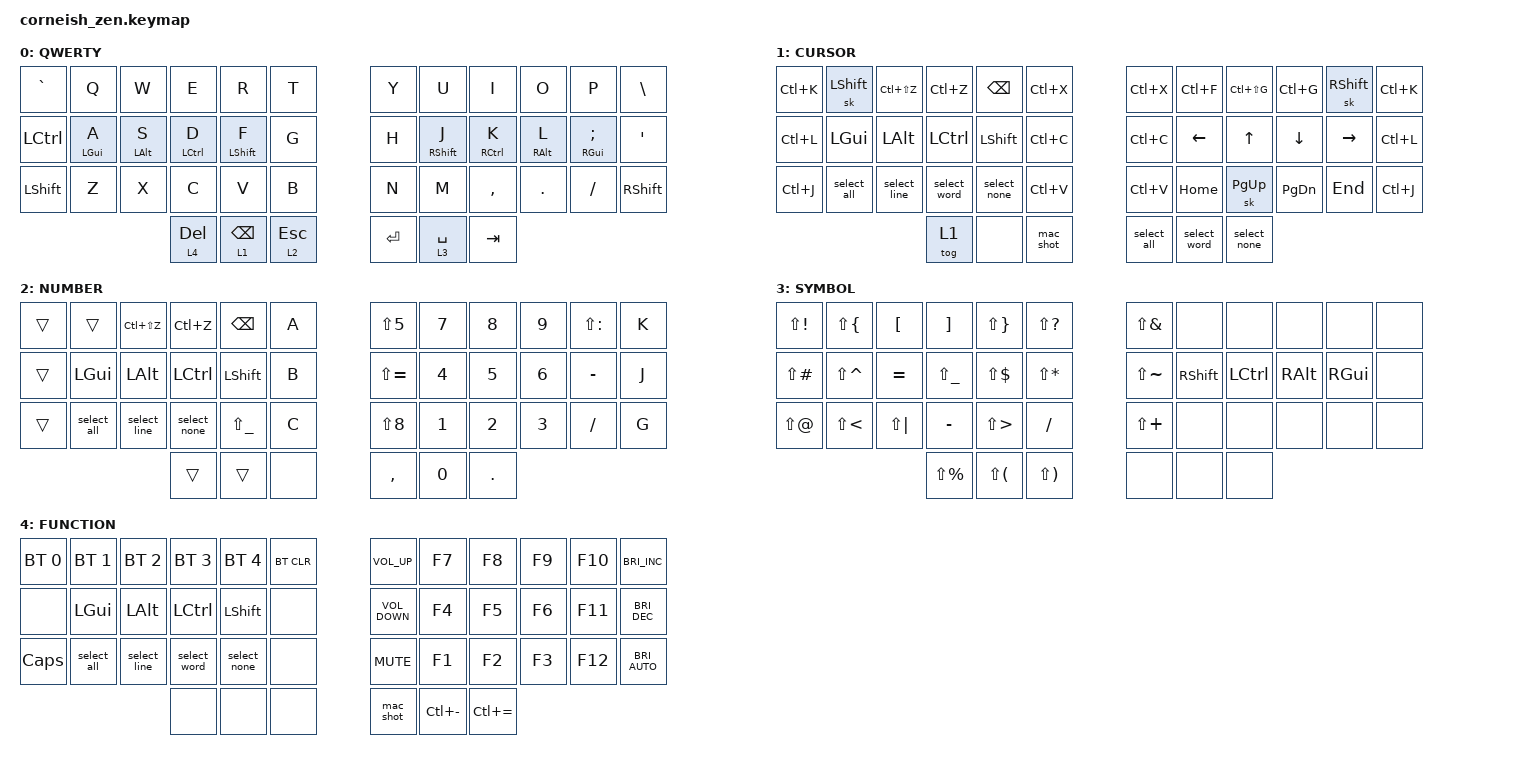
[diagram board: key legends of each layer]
#include <behaviors.dtsi>
#include <dt-bindings/zmk/bt.h>
#include <dt-bindings/zmk/keys.h>

/ {
    chosen {
        zmk,matrix_transform = &default_transform;

        //zmk,matrix_transform = &five_column_transform;
    };
};

/ {
    behaviors {
        homerow: homerow {
            compatible = "zmk,behavior-hold-tap";
            label = "HOMEROW";
            bindings = <&kp>, <&kp>;

            #binding-cells = <2>;
            tapping-term-ms = <240>;
            flavor = "tap-preferred";
            quick-tap-ms = <200>;
            require-prior-idle-ms = <160>;
            hold-trigger-key-positions = <36 38 37 39 40 41>;
            hold-trigger-on-release;
        };

        index: index {
            compatible = "zmk,behavior-hold-tap";
            label = "INDEX";
            bindings = <&kp>, <&kp>;

            #binding-cells = <2>;
            flavor = "tap-preferred";
            hold-trigger-on-release;
            hold-trigger-key-positions = <36 37 38 39 40 41>;
            tapping-term-ms = <180>;
            require-prior-idle-ms = <100>;
            quick-tap-ms = <300>;
        };

        thumb: thumb {
            compatible = "zmk,behavior-hold-tap";
            label = "THUMB";
            bindings = <&mo>, <&kp>;

            #binding-cells = <2>;
            flavor = "balanced";
            quick-tap-ms = <300>;
            tapping-term-ms = <200>;
        };
    };


    macros {
        select_line: select_line {
            compatible = "zmk,behavior-macro";
            #binding-cells = <0>;
            bindings = <&kp HOME &kp LS(END)>;
            label = "SELECT_LINE";
            wait-ms = <1>;
            tap-ms = <1>;
        };

        select_word: select_word {
            compatible = "zmk,behavior-macro";
            #binding-cells = <0>;
            bindings = <&kp LC(RIGHT) &kp LC(LEFT) &kp LC(LS(RIGHT))>;
            label = "SELECT_WORD";
            wait-ms = <1>;
            tap-ms = <1>;
        };

        select_none: select_none {
            compatible = "zmk,behavior-macro";
            #binding-cells = <0>;
            bindings = <&kp DOWN &kp UP &kp RIGHT &kp LEFT>;
            label = "SELECT_NONE";
        };

        select_all: select_all {
            compatible = "zmk,behavior-macro";
            #binding-cells = <0>;
            bindings = <&kp LC(A)>;
            label = "SELECT_ALL";
            wait-ms = <1>;
            tap-ms = <1>;
        };

        mac_shot: mac_shot {
            compatible = "zmk,behavior-macro";
            #binding-cells = <0>;
            bindings = <&kp LC(LS(LG(N4)))>;
            label = "MAC_SHOT";
        };
    };

    keymap {
        compatible = "zmk,keymap";

        default {
// ┏━━━━━━━━━━━━━━━━━━━━━━━━━━━━━━━━━━━━━━━┓
label= "QWERTY"                           ;
// ┗━━━━━━━━━━━━━━━━━━━━━━━━━━━━━━━━━━━━━━━┛
//             ┏━━━━━━━━━━━┳━━━━━━━━━━━┳━━━━━━━━━━━┳━━━━━━━━━━━┳━━━━━━━━━━━┳━━━━━━━━━━━┓   ┏━━━━━━━━━━━┳━━━━━━━━━━━┳━━━━━━━━━━━┳━━━━━━━━━━━┳━━━━━━━━━━━┳━━━━━━━━━━━┓
//             ┃     `     ┃     Q     ┃     W     ┃     E     ┃     R     ┃     T     ┃   ┃     Y     ┃     U     ┃     I     ┃     O     ┃     P     ┃     \     ┃
//             ┣━━━━━━━━━━━╋━━━━━━━━━━━╋━━━━━━━━━━━╋━━━━━━━━━━━╋━━━━━━━━━━━╋━━━━━━━━━━━┫   ┣━━━━━━━━━━━╋━━━━━━━━━━━╋━━━━━━━━━━━╋━━━━━━━━━━━╋━━━━━━━━━━━╋━━━━━━━━━━━┫
//             ┃   CTRL    ┃  A / GUI  ┃  S / ALT  ┃  D / CTRL ┃  F / SHFT ┃     G     ┃   ┃     H     ┃  J / SHFT ┃  K / CTRL ┃  L / ALT  ┃  ; / GUI  ┃     '     ┃
//             ┣━━━━━━━━━━━╋━━━━━━━━━━━╋━━━━━━━━━━━╋━━━━━━━━━━━╋━━━━━━━━━━━╋━━━━━━━━━━━┫   ┣━━━━━━━━━━━╋━━━━━━━━━━━╋━━━━━━━━━━━╋━━━━━━━━━━━╋━━━━━━━━━━━╋━━━━━━━━━━━┫
//             ┃   SHIFT   ┃     Z     ┃     X     ┃     C     ┃     V     ┃     B     ┃   ┃     N     ┃     M     ┃     ,     ┃     .     ┃     /     ┃   SHIFT   ┃
//             ┗━━━━━━━━━━━┻━━━━━━━━━━━┻━━━━━━━━━━━╋━━━━━━━━━━━╋━━━━━━━━━━━╋━━━━━━━━━━━┫   ┣━━━━━━━━━━━╋━━━━━━━━━━━╋━━━━━━━━━━━╋━━━━━━━━━━━┻━━━━━━━━━━━┻━━━━━━━━━━━┛
//                                                 ┃ DEL / L4  ┃ BSPC / L1 ┃ ESC / L2  ┃   ┃   ENTER   ┃ SPC / L3  ┃    TAB    ┃
//                                                 ┗━━━━━━━━━━━┻━━━━━━━━━━━┻━━━━━━━━━━━┛   ┗━━━━━━━━━━━┻━━━━━━━━━━━┻━━━━━━━━━━━┛

            bindings = <
&kp GRAVE  &kp Q            &kp W            &kp E                    &kp R               &kp T           &kp Y      &kp U            &kp I             &kp O            &kp P               &kp BACKSLASH
&kp LCTRL  &homerow LGUI A  &homerow LALT S  &homerow LEFT_CONTROL D  &index LSHFT F      &kp G           &kp H      &index RSHIFT J  &homerow RCTRL K  &homerow RALT L  &homerow RGUI SEMI  &kp SQT
&kp LSHFT  &kp Z            &kp X            &kp C                    &kp V               &kp B           &kp N      &kp M            &kp COMMA         &kp DOT          &kp SLASH           &kp RSHFT
                                             &thumb 4 DEL             &thumb 1 BACKSPACE  &thumb 2 ESC    &kp ENTER  &thumb 3 SPACE   &kp TAB
            >;
        };

        cursor {
// ┏━━━━━━━━━━━━━━━━━━━━━━━━━━━━━━━━━━━━━━━┓
label= "CURSOR"                           ;
// ┗━━━━━━━━━━━━━━━━━━━━━━━━━━━━━━━━━━━━━━━┛
//             ┏━━━━━━━━━━━┳━━━━━━━━━━━┳━━━━━━━━━━━┳━━━━━━━━━━━┳━━━━━━━━━━━┳━━━━━━━━━━━┓   ┏━━━━━━━━━━━┳━━━━━━━━━━━┳━━━━━━━━━━━┳━━━━━━━━━━━┳━━━━━━━━━━━┳━━━━━━━━━━━┓
//             ┃   CLEAR   ┃  SK SHIFT ┃    REDO   ┃    UNDO   ┃   BSPC    ┃    CUT    ┃   ┃    CUT    ┃   FIND    ┃  FIND PRV ┃  FIND NXT ┃  SK SHIFT ┃   CLEAR   ┃
//             ┣━━━━━━━━━━━╋━━━━━━━━━━━╋━━━━━━━━━━━╋━━━━━━━━━━━╋━━━━━━━━━━━╋━━━━━━━━━━━┫   ┣━━━━━━━━━━━╋━━━━━━━━━━━╋━━━━━━━━━━━╋━━━━━━━━━━━╋━━━━━━━━━━━╋━━━━━━━━━━━┫
//             ┃    LOCK   ┃    GUI    ┃    ALT    ┃   CTRL    ┃   SHIFT   ┃   COPY    ┃   ┃   COPY    ┃   LEFT    ┃    UP     ┃   DOWN    ┃   RIGHT   ┃    LOCK   ┃
//             ┣━━━━━━━━━━━╋━━━━━━━━━━━╋━━━━━━━━━━━╋━━━━━━━━━━━╋━━━━━━━━━━━╋━━━━━━━━━━━┫   ┣━━━━━━━━━━━╋━━━━━━━━━━━╋━━━━━━━━━━━╋━━━━━━━━━━━╋━━━━━━━━━━━╋━━━━━━━━━━━┫
//             ┃   JUMP    ┃  SEL ALL  ┃  SEL LINE ┃  SEL WORD ┃  SEL NONE ┃   PASTE   ┃   ┃   PASTE   ┃   HOME    ┃  SK PGUP  ┃   PGDN    ┃    END    ┃   JUMP    ┃
//             ┗━━━━━━━━━━━┻━━━━━━━━━━━┻━━━━━━━━━━━╋━━━━━━━━━━━╋━━━━━━━━━━━╋━━━━━━━━━━━┫   ┣━━━━━━━━━━━╋━━━━━━━━━━━╋━━━━━━━━━━━╋━━━━━━━━━━━┻━━━━━━━━━━━┻━━━━━━━━━━━┛
//                                                 ┃  TOG L1   ┃           ┃  SCREEN   ┃   ┃  SEL ALL  ┃  SEL WORD ┃  SEL NONE ┃
//                                                 ┗━━━━━━━━━━━┻━━━━━━━━━━━┻━━━━━━━━━━━┛   ┗━━━━━━━━━━━┻━━━━━━━━━━━┻━━━━━━━━━━━┛

            bindings = <
&kp LC(K)  &sk LSHIFT   &kp LC(LS(Z))  &kp LC(Z)     &kp BACKSPACE  &kp LC(X)    &kp LC(X)    &kp LC(F)     &kp LC(LS(G))  &kp LC(G)  &sk RSHFT  &kp LC(K)
&kp LC(L)  &kp LGUI     &kp LALT       &kp LCTRL     &kp LSHFT      &kp LC(C)    &kp LC(C)    &kp LEFT      &kp UP         &kp DOWN   &kp RIGHT  &kp LC(L)
&kp LC(J)  &select_all  &select_line   &select_word  &select_none   &kp LC(V)    &kp LC(V)    &kp HOME      &sk PG_UP      &kp PG_DN  &kp END    &kp LC(J)
                                       &tog 1        &none          &mac_shot    &select_all  &select_word  &select_none
            >;
        };

        number {
// ┏━━━━━━━━━━━━━━━━━━━━━━━━━━━━━━━━━━━━━━━┓
label= "NUMBER"                           ;
// ┗━━━━━━━━━━━━━━━━━━━━━━━━━━━━━━━━━━━━━━━┛
//             ┏━━━━━━━━━━━┳━━━━━━━━━━━┳━━━━━━━━━━━┳━━━━━━━━━━━┳━━━━━━━━━━━┳━━━━━━━━━━━┓   ┏━━━━━━━━━━━┳━━━━━━━━━━━┳━━━━━━━━━━━┳━━━━━━━━━━━┳━━━━━━━━━━━┳━━━━━━━━━━━┓
//             ┃           ┃           ┃    REDO   ┃    UNDO   ┃   BSPC    ┃     A     ┃   ┃     %     ┃     7     ┃     8     ┃     9     ┃     :     ┃     K     ┃
//             ┣━━━━━━━━━━━╋━━━━━━━━━━━╋━━━━━━━━━━━╋━━━━━━━━━━━╋━━━━━━━━━━━╋━━━━━━━━━━━┫   ┣━━━━━━━━━━━╋━━━━━━━━━━━╋━━━━━━━━━━━╋━━━━━━━━━━━╋━━━━━━━━━━━╋━━━━━━━━━━━┫
//             ┃           ┃    GUI    ┃    ALT    ┃   CTRL    ┃   SHIFT   ┃     B     ┃   ┃     +     ┃     4     ┃     5     ┃     6     ┃     -     ┃     J     ┃
//             ┣━━━━━━━━━━━╋━━━━━━━━━━━╋━━━━━━━━━━━╋━━━━━━━━━━━╋━━━━━━━━━━━╋━━━━━━━━━━━┫   ┣━━━━━━━━━━━╋━━━━━━━━━━━╋━━━━━━━━━━━╋━━━━━━━━━━━╋━━━━━━━━━━━╋━━━━━━━━━━━┫
//             ┃           ┃  SEL ALL  ┃  SEL LINE ┃  SEL NONE ┃     _     ┃     C     ┃   ┃     *     ┃     1     ┃     2     ┃     3     ┃     /     ┃     G     ┃
//             ┗━━━━━━━━━━━┻━━━━━━━━━━━┻━━━━━━━━━━━╋━━━━━━━━━━━╋━━━━━━━━━━━╋━━━━━━━━━━━┫   ┣━━━━━━━━━━━╋━━━━━━━━━━━╋━━━━━━━━━━━╋━━━━━━━━━━━┻━━━━━━━━━━━┻━━━━━━━━━━━┛
//                                                 ┃           ┃           ┃           ┃   ┃     ,     ┃     0     ┃     .     ┃
//                                                 ┗━━━━━━━━━━━┻━━━━━━━━━━━┻━━━━━━━━━━━┛   ┗━━━━━━━━━━━┻━━━━━━━━━━━┻━━━━━━━━━━━┛
            bindings = <
&trans  &trans       &kp LC(LS(Z))  &kp LC(Z)     &kp BACKSPACE  &kp A    &kp LS(N5)     &kp N7  &kp N8   &kp N9  &kp LS(COLON)  &kp K
&trans  &kp LGUI     &kp LALT       &kp LCTRL     &kp LSHFT      &kp B    &kp LS(EQUAL)  &kp N4  &kp N5   &kp N6  &kp MINUS      &kp J
&trans  &select_all  &select_line   &select_none  &kp LS(UNDER)  &kp C    &kp LS(N8)     &kp N1  &kp N2   &kp N3 &kp FSLH       &kp G
                                    &trans        &trans         &none    &kp COMMA      &kp N0  &kp DOT
            >;

        };

        symbol {
// ┏━━━━━━━━━━━━━━━━━━━━━━━━━━━━━━━━━━━━━━━┓
label= "SYMBOL"                           ;
// ┗━━━━━━━━━━━━━━━━━━━━━━━━━━━━━━━━━━━━━━━┛
//             ┏━━━━━━━━━━━┳━━━━━━━━━━━┳━━━━━━━━━━━┳━━━━━━━━━━━┳━━━━━━━━━━━┳━━━━━━━━━━━┓   ┏━━━━━━━━━━━┳━━━━━━━━━━━┳━━━━━━━━━━━┳━━━━━━━━━━━┳━━━━━━━━━━━┳━━━━━━━━━━━┓
//             ┃     !     ┃     {     ┃     [     ┃     ]     ┃     }     ┃     ?     ┃   ┃     &     ┃           ┃           ┃           ┃           ┃           ┃
//             ┣━━━━━━━━━━━╋━━━━━━━━━━━╋━━━━━━━━━━━╋━━━━━━━━━━━╋━━━━━━━━━━━╋━━━━━━━━━━━┫   ┣━━━━━━━━━━━╋━━━━━━━━━━━╋━━━━━━━━━━━╋━━━━━━━━━━━╋━━━━━━━━━━━╋━━━━━━━━━━━┫
//             ┃     #     ┃     ^     ┃     =     ┃     _     ┃     $     ┃     *     ┃   ┃     ~     ┃   SHIFT   ┃   CTRL    ┃    ALT    ┃    GUI    ┃           ┃
//             ┣━━━━━━━━━━━╋━━━━━━━━━━━╋━━━━━━━━━━━╋━━━━━━━━━━━╋━━━━━━━━━━━╋━━━━━━━━━━━┫   ┣━━━━━━━━━━━╋━━━━━━━━━━━╋━━━━━━━━━━━╋━━━━━━━━━━━╋━━━━━━━━━━━╋━━━━━━━━━━━┫
//             ┃     @     ┃     <     ┃     |     ┃     -     ┃     >     ┃     /     ┃   ┃     +     ┃           ┃           ┃           ┃           ┃           ┃
//             ┗━━━━━━━━━━━┻━━━━━━━━━━━┻━━━━━━━━━━━╋━━━━━━━━━━━╋━━━━━━━━━━━╋━━━━━━━━━━━┫   ┣━━━━━━━━━━━╋━━━━━━━━━━━╋━━━━━━━━━━━╋━━━━━━━━━━━┻━━━━━━━━━━━┻━━━━━━━━━━━┛
//                                                 ┃     %     ┃     (     ┃     )     ┃   ┃           ┃           ┃           ┃
//                                                 ┗━━━━━━━━━━━┻━━━━━━━━━━━┻━━━━━━━━━━━┛   ┗━━━━━━━━━━━┻━━━━━━━━━━━┻━━━━━━━━━━━┛
            bindings = <
&kp LS(EXCL)   &kp LS(LBRC)   &kp LBKT      &kp RBKT       &kp LS(RBRC)  &kp LS(QMARK)    &kp LS(AMPS)   &none      &none      &none     &none     &none
&kp LS(POUND)  &kp LS(CARET)  &kp EQUAL     &kp LS(UNDER)  &kp LS(DLLR)  &kp LS(STAR)     &kp LS(TILDE)  &kp RSHFT  &kp LCTRL  &kp RALT  &kp RGUI  &none
&kp LS(AT)     &kp LS(LT)     &kp LS(PIPE)  &kp MINUS      &kp LS(GT)    &kp FSLH         &kp LS(PLUS)   &none      &none      &none     &none     &none
                                            &kp LS(PRCNT)  &kp LS(LPAR)  &kp LS(RPAR)     &none          &none      &none
            >;

        };

        Function {
// ┏━━━━━━━━━━━━━━━━━━━━━━━━━━━━━━━━━━━━━━━┓
label= "FUNCTION"                         ;
// ┗━━━━━━━━━━━━━━━━━━━━━━━━━━━━━━━━━━━━━━━┛
//             ┏━━━━━━━━━━━┳━━━━━━━━━━━┳━━━━━━━━━━━┳━━━━━━━━━━━┳━━━━━━━━━━━┳━━━━━━━━━━━┓   ┏━━━━━━━━━━━┳━━━━━━━━━━━┳━━━━━━━━━━━┳━━━━━━━━━━━┳━━━━━━━━━━━┳━━━━━━━━━━━┓
//             ┃   BT 0    ┃   BT 1    ┃   BT 2    ┃   BT 3    ┃   BT 4    ┃  BT CLR   ┃   ┃   VOL UP  ┃    F7     ┃    F8     ┃    F9     ┃    F10    ┃  BRIGHT+  ┃
//             ┣━━━━━━━━━━━╋━━━━━━━━━━━╋━━━━━━━━━━━╋━━━━━━━━━━━╋━━━━━━━━━━━╋━━━━━━━━━━━┫   ┣━━━━━━━━━━━╋━━━━━━━━━━━╋━━━━━━━━━━━╋━━━━━━━━━━━╋━━━━━━━━━━━╋━━━━━━━━━━━┫
//             ┃           ┃    GUI    ┃    ALT    ┃   CTRL    ┃   SHIFT   ┃           ┃   ┃   VOL DN  ┃    F4     ┃    F5     ┃    F6     ┃    F11    ┃  BRIGHT-  ┃
//             ┣━━━━━━━━━━━╋━━━━━━━━━━━╋━━━━━━━━━━━╋━━━━━━━━━━━╋━━━━━━━━━━━╋━━━━━━━━━━━┫   ┣━━━━━━━━━━━╋━━━━━━━━━━━╋━━━━━━━━━━━╋━━━━━━━━━━━╋━━━━━━━━━━━╋━━━━━━━━━━━┫
//             ┃  CAPSLOCK ┃  SEL ALL  ┃  SEL LINE ┃  SEL WORD ┃  SEL NONE ┃           ┃   ┃   MUTE    ┃    F1     ┃    F2     ┃    F3     ┃    F12    ┃ BRIGHT AU ┃
//             ┗━━━━━━━━━━━┻━━━━━━━━━━━┻━━━━━━━━━━━╋━━━━━━━━━━━╋━━━━━━━━━━━╋━━━━━━━━━━━┫   ┣━━━━━━━━━━━╋━━━━━━━━━━━╋━━━━━━━━━━━╋━━━━━━━━━━━┻━━━━━━━━━━━┻━━━━━━━━━━━┛
//                                                 ┃           ┃           ┃           ┃   ┃  SCREEN   ┃  ZOOM OUT ┃  ZOOM IN  ┃
//                                                 ┗━━━━━━━━━━━┻━━━━━━━━━━━┻━━━━━━━━━━━┛   ┗━━━━━━━━━━━┻━━━━━━━━━━━┻━━━━━━━━━━━┛
            bindings = <
&bt BT_SEL 0  &bt BT_SEL 1  &bt BT_SEL 2  &bt BT_SEL 3  &bt BT_SEL 4  &bt BT_CLR    &kp K_VOLUME_UP    &kp F7         &kp F8         &kp F9  &kp F10  &kp C_BRIGHTNESS_INC
&none         &kp LGUI      &kp LALT      &kp LCTRL     &kp LSHFT     &none         &kp K_VOLUME_DOWN  &kp F4         &kp F5         &kp F6  &kp F11  &kp C_BRIGHTNESS_DEC
&kp CAPSLOCK  &select_all   &select_line  &select_word  &select_none  &none         &kp K_MUTE         &kp F1         &kp F2         &kp F3  &kp F12  &kp C_BRIGHTNESS_AUTO
                                          &none         &none         &none         &mac_shot          &kp LC(MINUS)  &kp LC(EQUAL)
            >;

        };
    };
};
